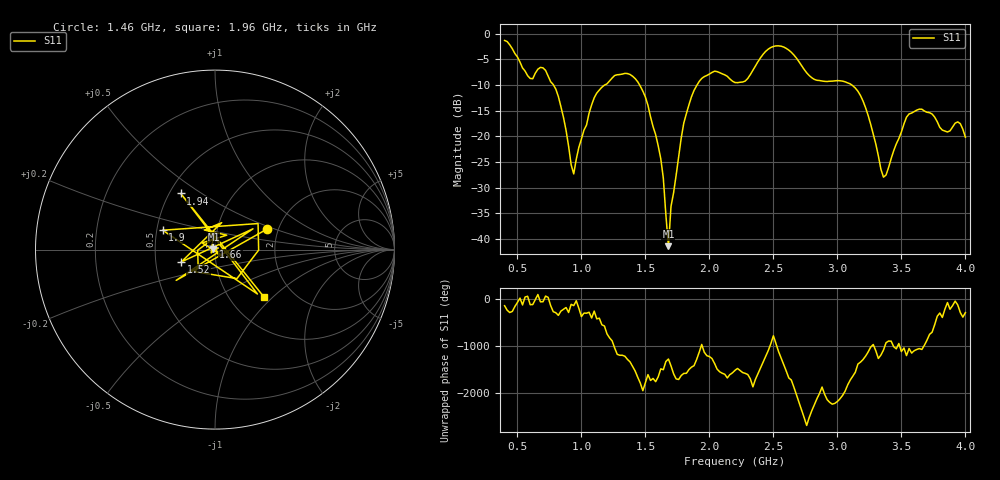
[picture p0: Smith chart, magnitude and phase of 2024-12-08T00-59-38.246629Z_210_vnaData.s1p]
!Created with skrf (http://scikit-rf.org).
# Hz S RI R 50.0
!freq ReS11 ImS11
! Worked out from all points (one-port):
!   181 points, 400 MHz to 4 GHz, reference 50 ohm
!   lowest |S11| = -41.4 dB at 1.68 GHz (marker M1), VSWR 1.02, Z = 49.2 + j0.121 ohm
!   |S11| at or under -10 dB: 782.3 MHz to 1.181 GHz (399.2 MHz wide, 40.7 % of centre); 1.455 GHz to 1.903 GHz (448.5 MHz wide, 26.7 % of centre); 3.113 GHz to end of sweep
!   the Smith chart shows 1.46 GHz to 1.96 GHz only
!   S11 on the Smith chart (normalised r, x): 1.46 GHz: 1.74, +0.43; 1.52 GHz: 0.68, -0.10; 1.66 GHz: 0.98, +0.03; 1.9 GHz: 0.54, +0.13; 1.94 GHz: 0.57, +0.41; 1.96 GHz: 1.43, -0.89
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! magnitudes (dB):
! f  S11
! 400 MHz  -1.3
! 600 MHz  -8.7
! 720 MHz  -7.1
! 860 MHz  -16.3
! 940 MHz  -27.3
! 1.1 GHz  -12.5
! 1.3 GHz  -7.9
! 1.46 GHz  -10.2
! 1.52 GHz  -14.0
! 1.62 GHz  -24.4
! 1.66 GHz  -35.4
! 1.68 GHz  -41.4
! 1.7 GHz  -33.7
! 1.76 GHz  -24.0
! 1.8 GHz  -17.4
! 1.9 GHz  -10.1
! 1.94 GHz  -8.7
! 1.96 GHz  -8.4
! 2.2 GHz  -9.5
! 2.48 GHz  -2.7
! 2.66 GHz  -4.1
! 2.82 GHz  -8.9
! 3.1 GHz  -9.8
! 3.22 GHz  -14.4
! 3.36 GHz  -28.0
! 3.56 GHz  -15.6
! 3.94 GHz  -17.2
! 4 GHz  -20.2
